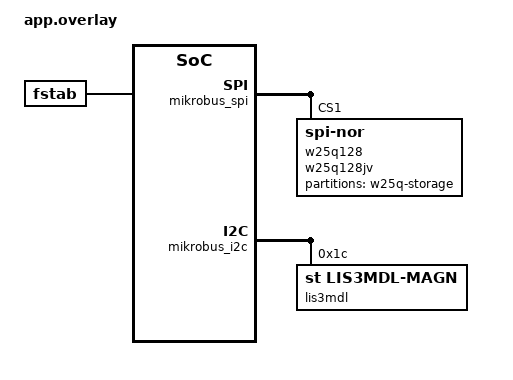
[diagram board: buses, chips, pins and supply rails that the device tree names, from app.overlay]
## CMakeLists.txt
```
cmake_minimum_required(VERSION 3.20.0)

set(BOARD nucleo_f446re)
set(SHIELD launch_mikroe)

find_package(Zephyr REQUIRED HINTS $ENV{ZEPHYR_BASE})
project(sample_logging LANGUAGES CXX)

FILE(GLOB app_sources src/*.cpp ../../lib/launch_core/os/fs.c)
target_sources(app PRIVATE ${app_sources})
```

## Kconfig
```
mainmenu "Data logging MWE"

config SENSOR_LOG_DURATION
	int "Clear the flash area before mounting"
	help
		Maximum time to log the magnetometer

source "Kconfig.zephyr"
```

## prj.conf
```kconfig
CONFIG_CPP=y

# outputs
CONFIG_SERIAL=y
CONFIG_STDOUT_CONSOLE=y
CONFIG_DEBUG=y
CONFIG_LOG=y
# 4 is debug
CONFIG_LOG_MODE_IMMEDIATE=y
# printf floating point numbers is its own thing because it's hard
CONFIG_CBPRINTF_FP_SUPPORT=y

# increase sys tick resolution to 10 us
CONFIG_SYS_CLOCK_TICKS_PER_SEC=100000

# Magnetometer over I2C
CONFIG_I2C=y
CONFIG_SENSOR=y
CONFIG_LIS3MDL=y
CONFIG_LIS3MDL_ODR="1000"

# Flash chip is SPI
CONFIG_SPI=y
CONFIG_FLASH=y
# LittleFS requires a flash map device
CONFIG_FLASH_MAP=y
CONFIG_FLASH_PAGE_LAYOUT=y

# Use filesystem
CONFIG_FILE_SYSTEM=y
# Use LittleFS as the filesystem
CONFIG_FILE_SYSTEM_LITTLEFS=y
# LittleFS is mounted on a flash map device
CONFIG_FS_LITTLEFS_FMP_DEV=y 

# LittleFS's buffers get large
CONFIG_MAIN_STACK_SIZE=8192

CONFIG_SENSOR_LOG_DURATION=10

# to get the filesystem shell working
# CONFIG_SHELL=y
# CONFIG_FILE_SYSTEM_SHELL=y
# CONFIG_HEAP_MEM_POOL_SIZE=16384
# CONFIG_SHELL_BACKEND_SERIAL_RX_RING_BUFFER_SIZE=128
```

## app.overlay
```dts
/ {
	chosen {
		zephyr,console = &usart2;
	};

	aliases {
		led = &shield_led; 
		storage = &w25q128;
		logfs = &lfs1;
		mag = &lis3mdl;
	};

	fstab {
		compatible = "zephyr,fstab";
		lfs1: lfs1 {
			compatible = "zephyr,fstab,littlefs";
			mount-point = "/lfs";
			partition = <&external_storage_1>;
			automount;

			// the binding reccomends defaults for these
			read-size = <16>;
			prog-size = <16>;
			cache-size = <64>; // may need to grow for optimization
			lookahead-size = <32>;
			block-cycles = <(90 * 1000)>; 
			// the datasheet gives 100K P-E cycles
			// NOTE: this seems to default to 512 for the mounted filesystem
			// anyway
		};
	};
};

&mikrobus_spi {
	w25q128: w25q128jv@1 {
		status = "okay";
		compatible = "jedec,spi-nor"; // conforms to JEDEC SFDP
		reg = <1>; // connected to to connector 1

		size = <DT_SIZE_M(128)>; // w25q128 - 128 MBit (S 11, p.75) 
		jedec-id = [ef 40 18]; // 0xef4018 (Table 8.1.1, p.22)
		spi-max-frequency = <(5 * 1000000)>; // fR = 50 MHz (Table 9.6, p.65)
		// but sticking to 1 because 50 doesn't work on my hardware, at time of
		// writing

		has-dpd;
		// Power-down 0xB9 (S 8.2.21)
		t-enter-dpd = <(3 * 1000)>; // tDP = 3 us (Table 9.6, p.66)
		// Release Power-down 0xAB (S 8.2.22)
		t-exit-dpd = <(3 * 1000)>; // tRES1 = 3 us (Table 9.6, p.66)

		partitions {
			compatible = "fixed-partitions";
			#address-cells = <1>;
			#size-cells = <1>;

			external_storage_1: partition@0 {
				label = "w25q-storage";
				reg = <0 DT_SIZE_M(16)>; // takes up the whole flash
			};
		};
	};
};

&mikrobus_i2c {
	lis3mdl: lis3mdl@1c {
		status = "okay";
		compatible = "st,lis3mdl-magn";
		reg = <0x1c>;
	};
};
```

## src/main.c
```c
#include <zephyr/kernel.h>
#include <zephyr/device.h>
#include <zephyr/devicetree.h>

#include <zephyr/drivers/gpio.h>
#include <zephyr/drivers/flash.h>
#include <zephyr/drivers/sensor.h>
#include <zephyr/fs/fs.h>
#include <zephyr/logging/log.h>

#include <launch_core/os/fs.h>
// node identifiers
// NOTE: Hardware prerequisites
// 	Launch Mikroe Click Shield
// 	W25Q128JV breakout connected to port 1

LOG_MODULE_REGISTER(sample, CONFIG_LOG_DEFAULT_LEVEL);

// devicetree gets
#define LED_NODE DT_ALIAS(led)
#define FLASH_NODE DT_ALIAS(storage)
#define MAG_NODE DT_ALIAS(mag)

const struct gpio_dt_spec led = GPIO_DT_SPEC_GET(LED_NODE, gpios);
const struct device* const flash = DEVICE_DT_GET(FLASH_NODE);
const struct device* const mag = DEVICE_DT_GET(MAG_NODE);

struct txyz {
	int32_t time;
	struct sensor_value xyz[3];
};

char bc_path[] = "/lfs/boot_count";

char boost_samples_path[] = "/lfs/boost";
char flight_samples_path[] = "/lfs/flight";
char too_big_path[] = "/lfs/throwaway";
#define N_CIRC_SAMPLES 100
#define N_ONCE_SAMPLES 300

SensorLogger detect_buffer{
	boost_samples_path, 
	sizeof(struct txyz), 
	N_CIRC_SAMPLES, 
	SLOG_CIRC);

L_FS_CREATE_FILE flight_log{
	flight_samples_path,
	sizeof(struct txyz),
	N_ONCE_SAMPLES,
	SLOG_ONCE};

// "too-big" 
/* SensorLogger too_big_logger{
	too_big_path,
	sizeof(struct txyz),
	1024 * 1024,
	SLOG_ONCE
}; */

int32_t increment_file_int32(char* fname, int32_t* count) {
	int32_t ret;
	int32_t close_ret;
	struct fs_file_t file;

	// prepare file for usage
	fs_file_t_init(&file);
	ret = fs_open(&file, fname, FS_O_CREATE | FS_O_RDWR);
	if (ret < 0) {
		LOG_ERR("Failed to open %s: %d\n", fname, ret);
		return ret;
	}

	// get the counter from the file
	ret = fs_read(&file, count, sizeof(*count));
	if (ret < 0) {
		LOG_ERR("Failed to read counter: %d\n", ret);
		goto exit;
	}

	(*count)++;

	// go back to the start of the file
	ret = fs_seek(&file, 0, FS_SEEK_SET);
	if (ret < 0) {
		LOG_ERR("Failed to seek to start: %d\n", ret);
		goto exit;
	}

	// write the counter to the file
	ret = fs_write(&file, count, sizeof(*count));
	if (ret < 0) {
		LOG_ERR("Failed to write new count: %d\n", ret);
	}
	
exit:
	close_ret = fs_close(&file);
	if (close_ret < 0) {
		LOG_ERR("Failed to close %s: %d\n", fname, close_ret);
		return close_ret;
	}
	return ret;
}

void print_mag_val(struct txyz* val) {
	LOG_PRINTK("T: %d ct\tX: %5f ga\tY: %5f ga\tZ: %5f ga\n",
			val->time, 
			sensor_value_to_double(val->xyz),
			sensor_value_to_double(val->xyz + 1),
			sensor_value_to_double(val->xyz + 2));
}

int32_t read_mag(struct txyz* val) {
	int32_t ret = 0;

	ret = sensor_sample_fetch(mag);
	if (ret < 0) {
		LOG_ERR("Unable to fetch sensor sample: %d\n", ret);
		return ret;
	}

	val->time = k_uptime_ticks();

	ret = sensor_channel_get(mag, SENSOR_CHAN_MAGN_XYZ, val->xyz);
	if (ret < 0) {
		LOG_ERR("Unable to read sensor channel: %d\n", ret);
		return ret;
	}
	
	return 0;
}

int32_t log_routine(void) {
	int32_t ret = 0;
	int32_t now = k_uptime_ticks();
	int32_t end = now + 
		CONFIG_SENSOR_LOG_DURATION * CONFIG_SYS_CLOCK_TICKS_PER_SEC;
	struct txyz sample;

	ret = detect_buffer.init();
	if (ret < 0) {
		LOG_ERR("Unable to initialize detection circular buffer: %d", ret);
		return ret;
	}
	ret = flight_log.init();
	if (ret < 0) {
		LOG_ERR("Unable to initialize flight buffer: %d", ret);
		return ret;
	}

	// Look for a large magnetic field for CONFIG... seconds
	while (k_uptime_ticks() < end) { 
		ret = read_mag(&sample);
		if (ret < 0) {
			LOG_ERR("Failed to read from magnetometer");
			return ret;
		}

		ret = detect_buffer.write((uint8_t*) &sample);
		if (ret < 0) {
			LOG_ERR("Failed to write sample");
			return ret;
		}

		if (abs(sample.xyz[2].val1) > 3) { // mag_z is large
			break;
		}
		k_msleep(10);
	}
	if (ret < 0) {
		return ret;
	}

	// flight_log errors when out of space
	while (1) {
		ret = read_mag(&sample);
		if (ret < 0) {
			LOG_ERR("Failed to read from magnetometer: %d", ret);
			return ret;
		}

		ret = flight_log.write((uint8_t*) &sample);
		if (-ENOSPC == ret) {
			break;
		} else if (ret < 0) {
			return ret;
		}
		k_msleep(10);
	}
	
	LOG_INF("Printing detection buffer");
	// print logged values
	for (off_t i = 0; i < N_CIRC_SAMPLES; i++) {
		detect_buffer.read((uint8_t*) &sample, i);
		print_mag_val(&sample);
	}


	LOG_INF("Printing flight buffer");
	for (off_t i = 0; i < N_ONCE_SAMPLES; i++) {
		flight_log.read((uint8_t*) &sample, i);
		print_mag_val(&sample);
	}

	LOG_INF("Verify that the flight buffer's timer counts pick up where the detection buffer ends.");
	return ret;
}

int main(void) {
	int32_t ret = 0;

	int32_t boot_counter = -1;

	// Boilerplate: set up GPIO
	if (!gpio_is_ready_dt(&led)) {
		LOG_ERR("GPIO is not ready");
		return -1;
	}

	if (gpio_pin_configure_dt(&led, GPIO_OUTPUT_ACTIVE) < 0) {
		LOG_ERR("Unable to configure LED output pin");
		return -1;
	}

	if (!device_is_ready(flash)) {
		LOG_ERR("Device %s is not ready", flash->name);
		return -1;
	}

	if (!device_is_ready(mag)) {
		LOG_ERR("Device %s is not ready", mag->name);
		return -1;
	}

	ret = increment_file_int32(bc_path, &boot_counter);
	if (ret >= 0) {
		LOG_INF("Successfully read and updated boot counter: %d boots", boot_counter);
	} else {
		LOG_ERR("Failed to read file");
	}

	/* ret = too_big_logger.init();
	if (ret == -ENOSPC) {
		LOG_INF("Logger did not have enough space to initialize");
		LOG_INF("Bad file is size %d", too_big_logger.file_size());
	} else if (ret < 0) {
		LOG_ERR("Other error: %d", ret);
	} else {
		LOG_ERR("Error expected but none recieved");
	} */

	log_routine();
	// just proves that the thing is alive
	while(1) {
		gpio_pin_toggle_dt(&led);
		k_msleep(100);
	}
	return 0;
}
```

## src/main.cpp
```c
#include <zephyr/kernel.h>
#include <zephyr/device.h>
#include <zephyr/devicetree.h>

#include <zephyr/drivers/gpio.h>
#include <zephyr/drivers/flash.h>
#include <zephyr/drivers/sensor.h>
#include <zephyr/fs/fs.h>
#include <zephyr/logging/log.h>

#include <launch_core/os/logger.h>
// node identifiers
// NOTE: Hardware prerequisites
// 	Launch Mikroe Click Shield
// 	W25Q128JV breakout connected to port 1

LOG_MODULE_REGISTER(sample, CONFIG_LOG_DEFAULT_LEVEL);

// devicetree gets
#define LED_NODE DT_ALIAS(led)
#define FLASH_NODE DT_ALIAS(storage)
#define MAG_NODE DT_ALIAS(mag)

const struct gpio_dt_spec led = GPIO_DT_SPEC_GET(LED_NODE, gpios);
const struct device* const flash = DEVICE_DT_GET(FLASH_NODE);
const struct device* const mag = DEVICE_DT_GET(MAG_NODE);

struct txyz {
	int32_t time;
	struct sensor_value xyz[3];
};

char bc_path[] = "/lfs/boot_count";

char boost_samples_path[] = "/lfs/boost";
char flight_samples_path[] = "/lfs/flight";
char too_big_path[] = "/lfs/throwaway";
#define N_CIRC_SAMPLES 100
#define N_ONCE_SAMPLES 300

SensorLogger detect_buffer{
	boost_samples_path, 
	sizeof(struct txyz), 
	N_CIRC_SAMPLES, 
	SLOG_CIRC};

SensorLogger flight_log{
	flight_samples_path,
	sizeof(struct txyz),
	N_ONCE_SAMPLES,
	SLOG_ONCE};

// "too-big" 
/* SensorLogger too_big_logger{
	too_big_path,
	sizeof(struct txyz),
	1024 * 1024,
	SLOG_ONCE
}; */

int32_t increment_file_int32(char* fname, int32_t* count) {
	int32_t ret;
	int32_t close_ret;
	struct fs_file_t file;

	// prepare file for usage
	fs_file_t_init(&file);
	ret = fs_open(&file, fname, FS_O_CREATE | FS_O_RDWR);
	if (ret < 0) {
		LOG_ERR("Failed to open %s: %d\n", fname, ret);
		return ret;
	}

	// get the counter from the file
	ret = fs_read(&file, count, sizeof(*count));
	if (ret < 0) {
		LOG_ERR("Failed to read counter: %d\n", ret);
		goto exit;
	}

	(*count)++;

	// go back to the start of the file
	ret = fs_seek(&file, 0, FS_SEEK_SET);
	if (ret < 0) {
		LOG_ERR("Failed to seek to start: %d\n", ret);
		goto exit;
	}

	// write the counter to the file
	ret = fs_write(&file, count, sizeof(*count));
	if (ret < 0) {
		LOG_ERR("Failed to write new count: %d\n", ret);
	}
	
exit:
	close_ret = fs_close(&file);
	if (close_ret < 0) {
		LOG_ERR("Failed to close %s: %d\n", fname, close_ret);
		return close_ret;
	}
	return ret;
}

void print_mag_val(struct txyz* val) {
	LOG_PRINTK("T: %d ct\tX: %5f ga\tY: %5f ga\tZ: %5f ga\n",
			val->time, 
			sensor_value_to_double(val->xyz),
			sensor_value_to_double(val->xyz + 1),
			sensor_value_to_double(val->xyz + 2));
}

int32_t read_mag(struct txyz* val) {
	int32_t ret = 0;

	ret = sensor_sample_fetch(mag);
	if (ret < 0) {
		LOG_ERR("Unable to fetch sensor sample: %d\n", ret);
		return ret;
	}

	val->time = k_uptime_ticks();

	ret = sensor_channel_get(mag, SENSOR_CHAN_MAGN_XYZ, val->xyz);
	if (ret < 0) {
		LOG_ERR("Unable to read sensor channel: %d\n", ret);
		return ret;
	}
	
	return 0;
}

int32_t log_routine(void) {
	int32_t ret = 0;
	int32_t now = k_uptime_ticks();
	int32_t end = now + 
		CONFIG_SENSOR_LOG_DURATION * CONFIG_SYS_CLOCK_TICKS_PER_SEC;
	struct txyz sample;

	ret = detect_buffer.init();
	if (ret < 0) {
		LOG_ERR("Unable to initialize detection circular buffer: %d", ret);
		return ret;
	}
	ret = flight_log.init();
	if (ret < 0) {
		LOG_ERR("Unable to initialize flight buffer: %d", ret);
		return ret;
	}

	// Look for a large magnetic field for CONFIG... seconds
	while (k_uptime_ticks() < end) { 
		ret = read_mag(&sample);
		if (ret < 0) {
			LOG_ERR("Failed to read from magnetometer");
			return ret;
		}

		ret = detect_buffer.write((uint8_t*) &sample);
		if (ret < 0) {
			LOG_ERR("Failed to write sample");
			return ret;
		}

		if (abs(sample.xyz[2].val1) > 3) { // mag_z is large
			break;
		}
		k_msleep(10);
	}
	if (ret < 0) {
		return ret;
	}

	// flight_log errors when out of space
	while (1) {
		ret = read_mag(&sample);
		if (ret < 0) {
			LOG_ERR("Failed to read from magnetometer: %d", ret);
			return ret;
		}

		ret = flight_log.write((uint8_t*) &sample);
		if (-ENOSPC == ret) {
			break;
		} else if (ret < 0) {
			return ret;
		}
		k_msleep(10);
	}
	
	LOG_INF("Printing detection buffer");
	// print logged values
	for (off_t i = 0; i < N_CIRC_SAMPLES; i++) {
		detect_buffer.read((uint8_t*) &sample, i);
		print_mag_val(&sample);
	}


	LOG_INF("Printing flight buffer");
	for (off_t i = 0; i < N_ONCE_SAMPLES; i++) {
		flight_log.read((uint8_t*) &sample, i);
		print_mag_val(&sample);
	}

	LOG_INF("Verify that the flight buffer's timer counts pick up where the detection buffer ends.");
	return ret;
}

int main(void) {
	int32_t ret = 0;

	int32_t boot_counter = -1;

	// Boilerplate: set up GPIO
	if (!gpio_is_ready_dt(&led)) {
		LOG_ERR("GPIO is not ready");
		return -1;
	}

	if (gpio_pin_configure_dt(&led, GPIO_OUTPUT_ACTIVE) < 0) {
		LOG_ERR("Unable to configure LED output pin");
		return -1;
	}

	if (!device_is_ready(flash)) {
		LOG_ERR("Device %s is not ready", flash->name);
		return -1;
	}

	if (!device_is_ready(mag)) {
		LOG_ERR("Device %s is not ready", mag->name);
		return -1;
	}

	ret = increment_file_int32(bc_path, &boot_counter);
	if (ret >= 0) {
		LOG_INF("Successfully read and updated boot counter: %d boots", boot_counter);
	} else {
		LOG_ERR("Failed to read file");
	}

	/* ret = too_big_logger.init();
	if (ret == -ENOSPC) {
		LOG_INF("Logger did not have enough space to initialize");
		LOG_INF("Bad file is size %d", too_big_logger.file_size());
	} else if (ret < 0) {
		LOG_ERR("Other error: %d", ret);
	} else {
		LOG_ERR("Error expected but none recieved");
	} */

	log_routine();
	// just proves that the thing is alive
	while(1) {
		gpio_pin_toggle_dt(&led);
		k_msleep(100);
	}
	return 0;
}
```
